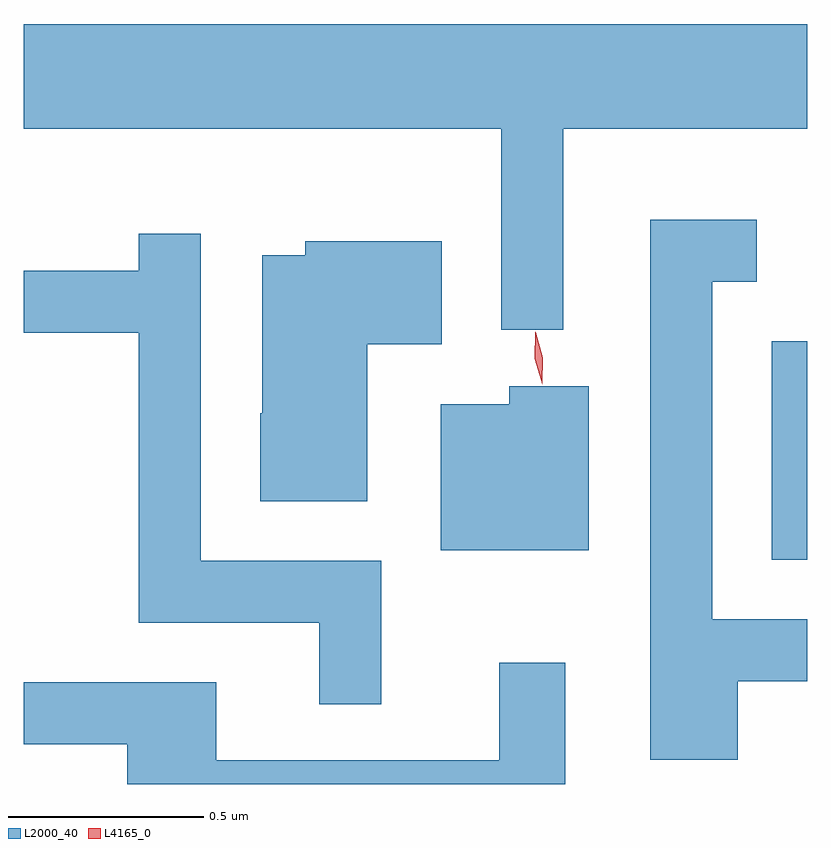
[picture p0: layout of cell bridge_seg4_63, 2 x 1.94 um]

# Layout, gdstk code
import gdstk
lib = gdstk.Library(unit=1e-6, precision=1e-09)
def R(c, l, rs):  # rectangles x0, y0, x1, y1
    for r in rs: c.add(gdstk.rectangle(r[:2], r[2:], *l))
def P(c, l, *ps):  # polygons
    for p in ps: c.add(gdstk.Polygon(p, *l))
L2000_40 = (2000, 40)
L4165_0 = (4165, 0)

bridge_seg4_63 = lib.new_cell('bridge_seg4_63')
R(bridge_seg4_63, L2000_40, [(1281.196,1360.236,1281.287,1360.794)])
P(bridge_seg4_63, L2000_40, [(1280.664,1361.336),(1281.287,1361.336),(1281.287,1361.604),(1279.287,1361.604),(1279.287,1361.336),(1280.506,1361.336),(1280.506,1360.823),(1280.664,1360.823)],
  [(1281.109,1359.926),(1281.287,1359.926),(1281.287,1360.084),(1281.044,1360.084),(1281.044,1360.946),(1281.158,1360.946),(1281.158,1361.104),(1280.886,1361.104),(1280.886,1359.726),(1281.109,1359.726)],
  [(1280.199,1360.234),(1279.739,1360.234),(1279.739,1361.068),(1279.581,1361.068),(1279.581,1360.974),(1279.287,1360.974),(1279.287,1360.816),(1279.581,1360.816),(1279.581,1360.076),(1280.041,1360.076),(1280.041,1359.868),(1280.199,1359.868)],
  [(1280.164,1360.786),(1280.354,1360.786),(1280.354,1361.049),(1280.006,1361.049),(1280.006,1361.014),(1279.896,1361.014),(1279.896,1360.61),(1279.891,1360.61),(1279.891,1360.386),(1280.164,1360.386)],
  [(1280.729,1360.679),(1280.526,1360.679),(1280.526,1360.634),(1280.351,1360.634),(1280.351,1360.261),(1280.729,1360.261)],
  [(1280.669,1359.973),(1280.501,1359.973),(1280.501,1359.724),(1279.779,1359.724),(1279.779,1359.924),(1279.287,1359.924),(1279.287,1359.766),(1279.551,1359.766),(1279.551,1359.664),(1280.669,1359.664)])
P(bridge_seg4_63, L4165_0, [(1280.61,1360.685),(1280.61,1360.686),(1280.592,1360.75),(1280.593,1360.817),(1280.593,1360.818),(1280.594,1360.817),(1280.612,1360.752),(1280.611,1360.686)])

lib.write_gds('bridge_seg4_63.gds')
